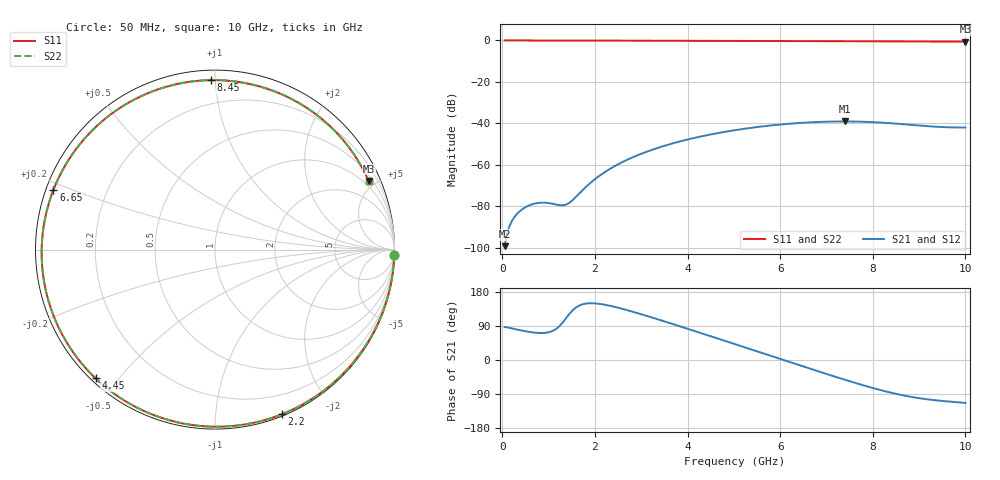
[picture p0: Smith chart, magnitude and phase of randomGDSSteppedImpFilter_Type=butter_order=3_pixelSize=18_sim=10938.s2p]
! freq	dB(S11)	phase(S11)	dB(S12)	phase(S12)
!  dB(S21)	phase(S21)	dB(S22)	phase(S22)
!S-par simulation data
#  GHz  S  DB  R 50
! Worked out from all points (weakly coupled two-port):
!   200 points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, 50 MHz to 10 GHz, reference 50 ohm
!   highest |S21| = -39.06 dB at 7.4 GHz (marker M1); lowest = -99.2 dB at 50 MHz (marker M2)
!   lowest |S11| = -0.6 dB at 10 GHz (marker M3), VSWR 31.03, Z = 36.4 + j230 ohm
!   |S11| at or under -10 dB: nowhere
!   |S22| runs from -0.6 to 0.0 dB; largest |S21 - S12| = 0
!   S11 on the Smith chart (normalised r, x): 50 MHz: 2, -72; 2.2 GHz: 0.02, -1.49; 4.45 GHz: 0.01, -0.44; 6.65 GHz: 0.02, +0.18; 8.45 GHz: 0.06, +0.97; 10 GHz: 0.73, +4.59
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0.05  -0.01 -1.6  -99.20 87.1  -99.20 87.1  -0.01 -1.6
0.5  -0.02 -15.8  -80.40 75.8  -80.40 75.8  -0.02 -15.8
0.85  -0.03 -26.8  -78.22 71.2  -78.22 71.2  -0.03 -26.8
1.35  -0.05 -42.2  -79.34 105.9  -79.34 105.9  -0.05 -42.2
1.5  -0.06 -46.8  -77.37 128.8  -77.37 128.8  -0.06 -46.8
1.75  -0.07 -54.4  -71.83 147.5  -71.83 147.5  -0.07 -54.4
2.2  -0.09 -67.9  -63.69 146.2  -63.69 146.2  -0.09 -67.9
2.75  -0.11 -84.1  -57.00 129.7  -57.00 129.7  -0.11 -84.1
3.4  -0.14 -102.9  -51.50 105.8  -51.50 105.8  -0.14 -102.9
4.45  -0.19 -132.9  -45.55 64.7  -45.55 64.7  -0.19 -132.9
5.05  -0.23 -150.3  -43.17 40.9  -43.17 40.9  -0.23 -150.3
5.9  -0.29 -175.9  -40.76 6.9  -40.76 6.9  -0.29 -176.0
6.65  -0.36 159.8  -39.49 -23.0  -39.49 -23.0  -0.36 159.7
6.7  -0.36 158.1  -39.43 -25.0  -39.43 -25.0  -0.36 158.0
7.4  -0.42 133.2  -39.06 -52.2  -39.06 -52.2  -0.42 133.1
7.9  -0.46 114.0  -39.29 -70.4  -39.29 -70.4  -0.46 113.8
8.35  -0.49 95.6  -39.85 -85.0  -39.85 -85.0  -0.49 95.5
8.45  -0.50 91.4  -40.01 -87.9  -40.01 -87.9  -0.49 91.3
8.8  -0.51 76.5  -40.65 -96.7  -40.65 -96.7  -0.51 76.4
9.2  -0.53 59.0  -41.36 -104.1  -41.36 -104.1  -0.53 58.9
9.6  -0.54 41.4  -41.85 -109.2  -41.85 -109.2  -0.54 41.3
10  -0.56 24.0  -41.98 -113.3  -41.98 -113.3  -0.56 23.9
